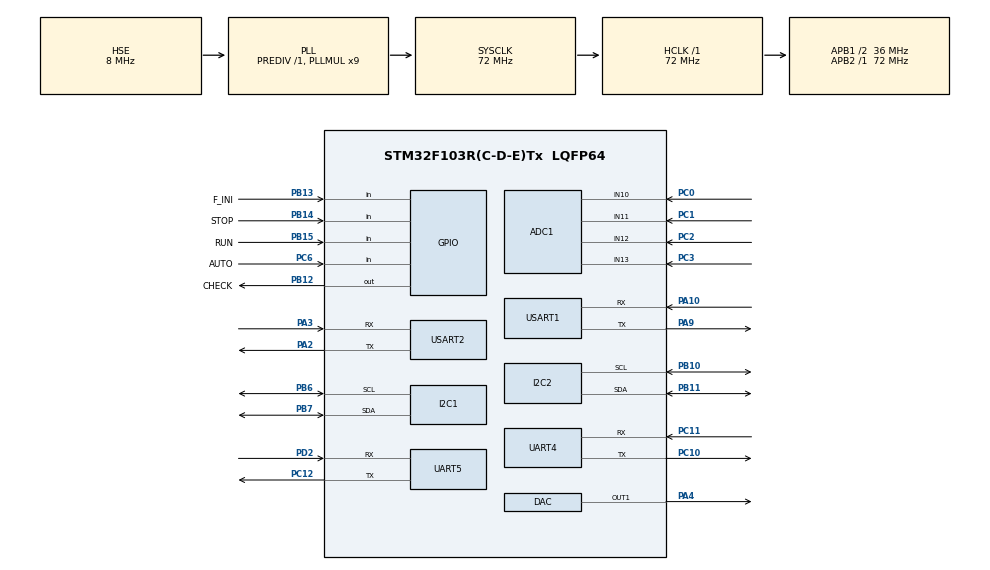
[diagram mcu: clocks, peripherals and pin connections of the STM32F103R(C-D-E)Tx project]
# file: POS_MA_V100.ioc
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ADC1.Channel-0\#ChannelRegularConversion=ADC_CHANNEL_10
ADC1.Channel-1\#ChannelRegularConversion=ADC_CHANNEL_11
ADC1.Channel-2\#ChannelRegularConversion=ADC_CHANNEL_12
ADC1.Channel-3\#ChannelRegularConversion=ADC_CHANNEL_13
ADC1.ContinuousConvMode=ENABLE
ADC1.NbrOfConversion=4
ADC1.NbrOfConversionFlag=1
ADC1.Rank-0\#ChannelRegularConversion=1
ADC1.Rank-1\#ChannelRegularConversion=2
ADC1.Rank-2\#ChannelRegularConversion=3
ADC1.Rank-3\#ChannelRegularConversion=4
ADC1.SamplingTime-0\#ChannelRegularConversion=ADC_SAMPLETIME_28CYCLES_5
ADC1.SamplingTime-1\#ChannelRegularConversion=ADC_SAMPLETIME_28CYCLES_5
ADC1.SamplingTime-2\#ChannelRegularConversion=ADC_SAMPLETIME_28CYCLES_5
ADC1.SamplingTime-3\#ChannelRegularConversion=ADC_SAMPLETIME_28CYCLES_5
ADC1.master=1
Dma.ADC1.0.Direction=DMA_PERIPH_TO_MEMORY
Dma.ADC1.0.Instance=DMA1_Channel1
Dma.ADC1.0.MemDataAlignment=DMA_MDATAALIGN_HALFWORD
Dma.ADC1.0.MemInc=DMA_MINC_ENABLE
Dma.ADC1.0.Mode=DMA_CIRCULAR
Dma.ADC1.0.PeriphDataAlignment=DMA_PDATAALIGN_HALFWORD
Dma.ADC1.0.PeriphInc=DMA_PINC_DISABLE
Dma.ADC1.0.Priority=DMA_PRIORITY_LOW
Dma.Request0=ADC1
Dma.Request1=UART4_TX
Dma.Request2=USART1_TX
Dma.Request3=USART2_TX
Dma.UART4_TX.1.Direction=DMA_MEMORY_TO_PERIPH
Dma.UART4_TX.1.Instance=DMA2_Channel5
Dma.UART4_TX.1.MemDataAlignment=DMA_MDATAALIGN_BYTE
Dma.UART4_TX.1.MemInc=DMA_MINC_ENABLE
Dma.UART4_TX.1.Mode=DMA_NORMAL
Dma.UART4_TX.1.PeriphDataAlignment=DMA_PDATAALIGN_BYTE
Dma.UART4_TX.1.PeriphInc=DMA_PINC_DISABLE
Dma.UART4_TX.1.Priority=DMA_PRIORITY_LOW
Dma.USART1_TX.2.Direction=DMA_MEMORY_TO_PERIPH
Dma.USART1_TX.2.Instance=DMA1_Channel4
Dma.USART1_TX.2.MemDataAlignment=DMA_MDATAALIGN_BYTE
Dma.USART1_TX.2.MemInc=DMA_MINC_ENABLE
Dma.USART1_TX.2.Mode=DMA_NORMAL
Dma.USART1_TX.2.PeriphDataAlignment=DMA_PDATAALIGN_BYTE
Dma.USART1_TX.2.PeriphInc=DMA_PINC_DISABLE
Dma.USART1_TX.2.Priority=DMA_PRIORITY_LOW
Dma.USART2_TX.3.Direction=DMA_MEMORY_TO_PERIPH
Dma.USART2_TX.3.Instance=DMA1_Channel7
Dma.USART2_TX.3.MemDataAlignment=DMA_MDATAALIGN_BYTE
Dma.USART2_TX.3.MemInc=DMA_MINC_ENABLE
Dma.USART2_TX.3.Mode=DMA_NORMAL
Dma.USART2_TX.3.PeriphDataAlignment=DMA_PDATAALIGN_BYTE
Dma.USART2_TX.3.PeriphInc=DMA_PINC_DISABLE
Dma.USART2_TX.3.Priority=DMA_PRIORITY_LOW
Mcu.Family=STM32F1
Mcu.Name=STM32F103R(C-D-E)Tx
Mcu.Package=LQFP64
NVIC.DMA1_Channel1_IRQn=true\:0\:0\:false\:false\:true\:false\:true\:true
NVIC.DMA1_Channel4_IRQn=true\:0\:0\:false\:false\:true\:false\:true\:true
NVIC.DMA1_Channel7_IRQn=true\:0\:0\:false\:false\:true\:false\:true\:true
NVIC.DMA2_Channel4_5_IRQn=true\:0\:0\:false\:false\:true\:false\:true\:true
NVIC.PriorityGroup=NVIC_PRIORITYGROUP_4
NVIC.TIM3_IRQn=true\:0\:0\:false\:false\:true\:true\:true\:true
NVIC.UART4_IRQn=true\:0\:0\:false\:false\:true\:true\:true\:true
NVIC.UART5_IRQn=true\:0\:0\:false\:false\:true\:true\:true\:true
NVIC.USART1_IRQn=true\:0\:0\:false\:false\:true\:true\:true\:true
NVIC.USART2_IRQn=true\:0\:0\:false\:false\:true\:true\:true\:true
PA10.GPIO_PuPd=GPIO_PULLUP
PA10.Mode=Asynchronous
PA10.Signal=USART1_RX
PA13.Mode=Serial_Wire
PA13.Signal=SYS_JTMS-SWDIO
PA14.Mode=Serial_Wire
PA14.Signal=SYS_JTCK-SWCLK
PA2.Mode=Asynchronous
PA2.Signal=USART2_TX
PA3.GPIO_PuPd=GPIO_PULLUP
PA3.Mode=Asynchronous
PA3.Signal=USART2_RX
PA4.Signal=COMP_DAC1_group
PA9.Mode=Asynchronous
PA9.Signal=USART1_TX
PB10.Mode=I2C
PB10.Signal=I2C2_SCL
PB11.Mode=I2C
PB11.Signal=I2C2_SDA
PB12.GPIO_Label=CHECK
PB12.Signal=GPIO_Output
PB13.GPIO_Label=F_INI
PB13.GPIO_PuPd=GPIO_PULLUP
PB13.Signal=GPIO_Input
PB14.GPIO_Label=STOP
PB14.GPIO_PuPd=GPIO_PULLUP
PB14.Signal=GPIO_Input
PB15.GPIO_Label=RUN
PB15.GPIO_PuPd=GPIO_PULLUP
PB15.Signal=GPIO_Input
PB6.Mode=I2C
PB6.Signal=I2C1_SCL
PB7.Mode=I2C
PB7.Signal=I2C1_SDA
PC0.Signal=ADCx_IN10
PC1.Signal=ADCx_IN11
PC10.Mode=Asynchronous
PC10.Signal=UART4_TX
PC11.GPIO_PuPd=GPIO_PULLUP
PC11.Mode=Asynchronous
PC11.Signal=UART4_RX
PC12.Mode=Asynchronous
PC12.Signal=UART5_TX
PC2.Signal=ADCx_IN12
PC3.Signal=ADCx_IN13
PC6.GPIO_Label=AUTO
PC6.GPIO_PuPd=GPIO_PULLUP
PC6.Signal=GPIO_Input
PD0-OSC_IN.Mode=HSE-External-Oscillator
PD0-OSC_IN.Signal=RCC_OSC_IN
PD1-OSC_OUT.Mode=HSE-External-Oscillator
PD1-OSC_OUT.Signal=RCC_OSC_OUT
PD2.GPIO_PuPd=GPIO_PULLUP
PD2.Mode=Asynchronous
PD2.Signal=UART5_RX
ProjectManager.HeapSize=0x200
ProjectManager.StackSize=0x400
ProjectManager.TargetToolchain=STM32CubeIDE
RCC.ADCPresc=RCC_ADCPCLK2_DIV6
RCC.AHBFreq_Value=72000000
RCC.APB1CLKDivider=RCC_HCLK_DIV2
RCC.APB1Freq_Value=36000000
RCC.APB1TimFreq_Value=72000000
RCC.APB2Freq_Value=72000000
RCC.APB2TimFreq_Value=72000000
RCC.HCLKFreq_Value=72000000
RCC.PLLMUL=RCC_PLL_MUL9
RCC.PLLSourceVirtual=RCC_PLLSOURCE_HSE
RCC.SYSCLKFreq_VALUE=72000000
RCC.SYSCLKSource=RCC_SYSCLKSOURCE_PLLCLK
RCC.USBFreq_Value=72000000
SH.ADCx_IN10.0=ADC1_IN10,IN10
SH.ADCx_IN11.0=ADC1_IN11,IN11
SH.ADCx_IN12.0=ADC1_IN12,IN12
SH.ADCx_IN13.0=ADC1_IN13,IN13
SH.COMP_DAC1_group.0=DAC_OUT1,DAC_OUT1
TIM3.Period=1000-1
TIM3.Prescaler=72-1
UART4.VirtualMode=Asynchronous
UART5.VirtualMode=Asynchronous
USART1.VirtualMode=VM_ASYNC
USART2.VirtualMode=VM_ASYNC
VP_TIM3_VS_ClockSourceINT.Mode=Internal
board=custom

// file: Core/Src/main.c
/* USER CODE BEGIN Header */
/**
 ******************************************************************************
 * @file           : main.c
 * @brief          : Main program body
 ******************************************************************************
 * @attention
 *
 * Copyright (c) 2025 STMicroelectronics.
 * All rights reserved.
 *
 * This software is licensed under terms that can be found in the LICENSE file
 * in the root directory of this software component.
 * If no LICENSE file comes with this software, it is provided AS-IS.
 *
 ******************************************************************************
 */
/* USER CODE END Header */
#include "main.h"
#include "adc.h"
#include "dac.h"
#include "dma.h"
#include "i2c.h"
#include "tim.h"
#include "usart.h"
#include "gpio.h"

/* USER CODE BEGIN Includes */
#include <math.h>
#include <stdio.h>
#include <stdint.h>
#include <stdlib.h>
#include <string.h>
#include <stdbool.h>
/* USER CODE END Includes */

/* USER CODE BEGIN PD */
#define NUM_ADC 4
#define MIN_BUFF 20
#define MAX_BUFF 80
#define KEY_INPUT 50
#define SAMPLE_ADC 64
#define MAX_ANGLE 5.25
#define STEP_DEGREE 0.75
#define STAGE_DELAY 100
#define MIN_QPD_X 10
#define MIN_QPD_Y 10
#define MIN_QPD_TOTAL 3000
#define MAX_KEY_INPUT 20000
#define CHECK_LED_OF GPIOB->BSRR = 0x10000000
#define CHECK_LED_ON GPIOB->BSRR = 0x00001000
/* USER CODE END PD */

/* USER CODE BEGIN PV */
typedef enum
{
    IDLE,
    INIT_X,
    INIT_Y,
    WAIT_X_OR,
    WAIT_Y_OR,
    CHECK_X_TP,
    CHECK_Y_TP,
    MOVE_X,
    MOVE_Y,
    WAIT_X_PA,
    WAIT_Y_PA,
    CALC_ANGLE,
    MOVE_DONE
} STAGE_STATE;

typedef enum
{
    QPD_ERR,
    QPD_LOW,
    QPD_HIGH
} QUAD_PD_STATE;

typedef enum
{
    STOP_MOVE,
    SEARCH_MOVE,
    CENTER_MOVE
} FCR100_STATE;

STAGE_STATE STG_STATE = IDLE, BKUP_STG_STATE = IDLE;
QUAD_PD_STATE QPD_STATE = QPD_ERR;
FCR100_STATE FCR_STATE = STOP_MOVE;
/* USER CODE END PV */

void SystemClock_Config(void);
/* USER CODE BEGIN PFP */
void Check_Auto_Manual(void);
void Check_Overrun_Uart(void);
void ADC_Process(void);
void Process_QPD(void);
void Process_Stage(void);
void Stage_Init(UART_HandleTypeDef *huart, const uint8_t *rxbuff);
void Stage_Moving(UART_HandleTypeDef *huart, const uint8_t *rxbuff);
void Stage_Calculate_Moving_Angle(void);
void Key_Input_Check(void);
void Send_Txbuff(UART_HandleTypeDef *huart, char *data);
bool Stage_Response_Check(const uint8_t *rxbuff, const char *compare);
bool Stage_Position_Check(const uint8_t *rxbuff, const char *compare);
void Send_Data_To_User(void);
void Send_Data_To_PC(void);
/* USER CODE END PFP */

/* USER CODE BEGIN 0 */
bool ADC_Flag = false, INIT_CPLT = false, INIT_KEY = false,
     SEARCH_CPLT = false, CENTER_CPLT = false, AUTO = false, RUN = false;
char pc_buff[MAX_BUFF], stage_buff[MAX_BUFF], usr_buff[MAX_BUFF];
uint8_t rx_stdata, rx_pcdata, rx_xdata, rx_ydata,
    stnum, xnum, ynum, pcnum, stage_dir, SUB_INFO_1, SUB_INFO_2,
    rx_xbuff[MIN_BUFF], rx_ybuff[MIN_BUFF], rx_pcbuff[MIN_BUFF], rx_stbuff[MIN_BUFF];
uint16_t adc_value[SAMPLE_ADC * NUM_ADC], avg_adc[NUM_ADC], cal_adc[NUM_ADC],
    run_sw, stop_sw, init_sw,
    adc_cnt, sys_cnt, pc_cnt,
    stage_cnt, stage_step = 1, stg_delay = STAGE_DELAY,
               stage_move_cnt;
uint32_t cal_sum_adc[NUM_ADC], sum_adc[NUM_ADC];
int32_t qpd_y, qpd_x, qpd_total, sum_avg_adc;
double x_angle = 0.0, y_angle = 0.0, target_x_angle = 0.0, target_y_angle = 0.0,
       dmin = 0.0, dmax = 0.0, corr_x_angle = 0.0, corr_y_angle = 0.0;
/* USER CODE END 0 */

int main(void)
{

    /* MCU Configuration--------------------------------------------------------*/

    /* Reset of all peripherals, Initializes the Flash interface and the Systick. */
    HAL_Init();

    /* Configure the system clock */
    SystemClock_Config();

    /* Initialize all configured peripherals */
    MX_GPIO_Init();
    MX_DMA_Init();
    MX_ADC1_Init();
    MX_TIM3_Init();
    MX_UART4_Init();
    MX_UART5_Init();
    MX_USART1_UART_Init();
    MX_USART2_UART_Init();
    MX_DAC_Init();
    MX_I2C1_Init();
    MX_I2C2_Init();
    /* USER CODE BEGIN 2 */

    // Check Mode(Auto|Manual)
    Check_Auto_Manual();

    // ADC Setup
    HAL_ADCEx_Calibration_Start(&hadc1);
    HAL_ADC_Start_DMA(&hadc1, (uint32_t *)adc_value, SAMPLE_ADC * NUM_ADC);

    // Timer Interrupt Setup
    HAL_TIM_Base_Start_IT(&htim3);

    // UART Rx Interrupt Setup
    HAL_UART_Receive_IT(&huart1, &rx_stdata, 1);
    HAL_UART_Receive_IT(&huart2, &rx_pcdata, 1);
    HAL_UART_Receive_IT(&huart4, &rx_ydata, 1);
    HAL_UART_Receive_IT(&huart5, &rx_xdata, 1);

    /* USER CODE END 2 */

    /* Infinite loop */
    while (1)
    {

        /* USER CODE BEGIN 3 */

    	// Check Git-Hub step 1

        // ADC Process
        ADC_Process();

        // Uart over-run check
        Check_Overrun_Uart();

        // Process QPD X-Y
        Process_QPD();

        // Find light source by moving Stage X-Y
        Process_Stage();

        // Send Data to PC
        Send_Data_To_PC();

        // Send Data to User
        Send_Data_To_User();
    }
    /* USER CODE END 3 */
}

void SystemClock_Config(void)
{
    RCC_OscInitTypeDef RCC_OscInitStruct = {0};
    RCC_ClkInitTypeDef RCC_ClkInitStruct = {0};
    RCC_PeriphCLKInitTypeDef PeriphClkInit = {0};

    /** Initializes the RCC Oscillators according to the specified parameters
     * in the RCC_OscInitTypeDef structure.
     */
    RCC_OscInitStruct.OscillatorType = RCC_OSCILLATORTYPE_HSE;
    RCC_OscInitStruct.HSEState = RCC_HSE_ON;
    RCC_OscInitStruct.HSEPredivValue = RCC_HSE_PREDIV_DIV1;
    RCC_OscInitStruct.HSIState = RCC_HSI_ON;
    RCC_OscInitStruct.PLL.PLLState = RCC_PLL_ON;
    RCC_OscInitStruct.PLL.PLLSource = RCC_PLLSOURCE_HSE;
    RCC_OscInitStruct.PLL.PLLMUL = RCC_PLL_MUL9;
    if (HAL_RCC_OscConfig(&RCC_OscInitStruct) != HAL_OK)
    {
        Error_Handler();
    }

    /** Initializes the CPU, AHB and APB buses clocks
     */
    RCC_ClkInitStruct.ClockType = RCC_CLOCKTYPE_HCLK | RCC_CLOCKTYPE_SYSCLK | RCC_CLOCKTYPE_PCLK1 | RCC_CLOCKTYPE_PCLK2;
    RCC_ClkInitStruct.SYSCLKSource = RCC_SYSCLKSOURCE_PLLCLK;
    RCC_ClkInitStruct.AHBCLKDivider = RCC_SYSCLK_DIV1;
    RCC_ClkInitStruct.APB1CLKDivider = RCC_HCLK_DIV2;
    RCC_ClkInitStruct.APB2CLKDivider = RCC_HCLK_DIV1;

    if (HAL_RCC_ClockConfig(&RCC_ClkInitStruct, FLASH_LATENCY_2) != HAL_OK)
    {
        Error_Handler();
    }
    PeriphClkInit.PeriphClockSelection = RCC_PERIPHCLK_ADC;
    PeriphClkInit.AdcClockSelection = RCC_ADCPCLK2_DIV6;
    if (HAL_RCCEx_PeriphCLKConfig(&PeriphClkInit) != HAL_OK)
    {
        Error_Handler();
    }
}

/* USER CODE BEGIN 4 */
void HAL_TIM_PeriodElapsedCallback(TIM_HandleTypeDef *htim)
{
    // Check Key(Run, Stop, Init)
    Key_Input_Check();

    // ADC
    ADC_Flag = true;

    // Stage Communication Delay
    if (stg_delay > 0)
        stg_delay--;

    // Send PC Data
    pc_cnt++;

    // Send User Data
    sys_cnt++;
}

void Check_Auto_Manual(void)
{
    if (GPIOC->IDR & 0x00000040) // Check Mode Auto-Manual(PC6)
    {
        Send_Txbuff(&huart1, "Manual Mode\r\n");
    }
    else
    {
        target_x_angle = 0.0;
        target_y_angle = 0.0;
        AUTO = true;
        RUN = true;
        STG_STATE = INIT_X;

        Send_Txbuff(&huart1, "Auto Mode\r\n");
    }
}

void Key_Input_Check(void)
{
    if (!(GPIOB->IDR & 0x00002000))
    { // Check input Init-SW(PB13)
        init_sw++;
        if (init_sw == KEY_INPUT)
        {
            // Move FCR100 to initial(home) position
            Send_Txbuff(&huart1, "init_sw input\r\n");

            target_x_angle = 0.0;
            target_y_angle = 0.0;
            INIT_KEY = true;
            STG_STATE = INIT_X;
        }
        if (init_sw >= MAX_KEY_INPUT)
            init_sw = 0;
    }
    else
    {
        if (init_sw > 0)
            init_sw = 0;
    }

    if (!(GPIOB->IDR & 0x00004000))
    { // Check input Stop-SW(PB14)
        stop_sw++;
        if (stop_sw == KEY_INPUT)
        {
            // Send stop command to FCR100
            Send_Txbuff(&huart1, "stop_sw input\r\n");

            RUN = false;

            // Turn On CHECK-LED
            CHECK_LED_ON;
        }
        if (stop_sw >= MAX_KEY_INPUT)
            stop_sw = 0;
    }
    else
    {
        if (stop_sw > 0)
            stop_sw = 0;
    }

    if (!(GPIOB->IDR & 0x00008000))
    { // Check input Run-SW(PB15)
        run_sw++;
        if (run_sw == KEY_INPUT)
        {
            // Send command to find and move to center position
            Send_Txbuff(&huart1, "run_sw input\r\n");

            RUN = true;

            // Turn Off CHECK-LED
            CHECK_LED_OF;
        }
        if (run_sw >= MAX_KEY_INPUT)
            run_sw = 0;
    }
    else
    {
        if (run_sw > 0)
            run_sw = 0;
    }
}

void ADC_Process(void)
{
    if (ADC_Flag)
    {
        adc_cnt++;

        for (uint8_t i = 0; i < SAMPLE_ADC; i++)
        {
            cal_sum_adc[0] += adc_value[i * 4];
            cal_sum_adc[1] += adc_value[(i * 4) + 1];
            cal_sum_adc[2] += adc_value[(i * 4) + 2];
            cal_sum_adc[3] += adc_value[(i * 4) + 3];
        }

        for (uint8_t i = 0; i < NUM_ADC; i++)
        {
            cal_adc[i] = cal_sum_adc[i] / SAMPLE_ADC;
        }

        for (uint8_t i = 0; i < NUM_ADC; i++)
        {
            cal_sum_adc[i] = 0;
        }

        for (uint8_t i = 0; i < NUM_ADC; i++)
        {
            sum_adc[i] += cal_adc[i];
        }

        if (adc_cnt >= 300)
        {
            for (uint8_t i = 0; i < NUM_ADC; i++)
            {
                avg_adc[i] = sum_adc[i] / 300;
                sum_avg_adc += avg_adc[i];
            }

            for (uint8_t i = 0; i < NUM_ADC; i++)
            {
                sum_adc[i] = 0;
            }

            qpd_total = (int32_t)sum_avg_adc;
            sum_avg_adc = 0;

            if (qpd_total > 0)
            {
                // X = ((A + D) - (B + C)) / (A + B + C + D), 단위 0.00%(예, 300 -> 3.99%)
                qpd_x = (avg_adc[0] + avg_adc[3]) - (avg_adc[1] + avg_adc[2]);
                qpd_x *= 10000;
                qpd_x = qpd_x / qpd_total;

                // Y = ((A + B) - (C + D)) / (A + B + C + D)
                qpd_y = (avg_adc[0] + avg_adc[1]) - (avg_adc[2] + avg_adc[3]);
                qpd_y *= 10000;
                qpd_y = qpd_y / qpd_total;

                // 100%(10,000) 이상인 경우, 축 치우침이 너무 큼으로 광소스를 다시 찾아야???
                // 우선, X, Y값을 100%로 설정(판별은 QPD_PROCESS에서)
                if (qpd_x >= 10000)
                    qpd_x = 10000;
                else if (qpd_x <= -10000)
                    qpd_x = -10000;

                if (qpd_y >= 10000)
                    qpd_y = 10000;
                else if (qpd_y <= -10000)
                    qpd_y = -10000;
            }
            adc_cnt = 0;
        }

        ADC_Flag = false;
    }
}

void Check_Overrun_Uart(void)
{
    if (__HAL_UART_GET_FLAG(&huart1, UART_FLAG_ORE))
    {
        Send_Txbuff(&huart1, "Errupt USART1(ST-LINK) OVER-source_search\r\n");

        volatile uint32_t temp;
        temp = USART1->DR; // Read Rx-Register
        (void)temp;        // Prevent Compiler error

        HAL_UART_Receive_IT(&huart1, &rx_stdata, 1);
    }

    if (__HAL_UART_GET_FLAG(&huart2, UART_FLAG_ORE))
    {
        Send_Txbuff(&huart1, "Errupt USART2(PC) OVER-source_search\r\n");

        volatile uint32_t temp;
        temp = USART2->DR; // Read Rx-Register
        (void)temp;        // Prevent Compiler error

        HAL_UART_Receive_IT(&huart2, &rx_pcdata, 1);
    }

    if (__HAL_UART_GET_FLAG(&huart4, UART_FLAG_ORE))
    {
        Send_Txbuff(&huart1, "Errupt UART4(FCR-Y) OVER-source_search\r\n");

        volatile uint32_t temp;
        temp = UART4->DR; // Read Rx-Register
        (void)temp;       // Prevent Compiler error

        HAL_UART_Receive_IT(&huart4, &rx_ydata, 1);
    }

    if (__HAL_UART_GET_FLAG(&huart5, UART_FLAG_ORE))
    {
        Send_Txbuff(&huart1, "Errupt UART5(FCR-X) OVER-source_search\r\n");

        volatile uint32_t temp;
        temp = UART5->DR; // Read Rx-Register
        (void)temp;       // Prevent Compiler error

        HAL_UART_Receive_IT(&huart5, &rx_xdata, 1);
    }
}

void Process_QPD(void)
{
    // 임시 리턴 <- 코드 구성 후 삭제
    return;

    // QPD 값이 최소값보다 작은 경우, 계속 찾기
    if (qpd_total < MIN_QPD_TOTAL)
    {
        SEARCH_CPLT = false;
        QPD_STATE = QPD_ERR;
        return;
    }

    // QPD 중심점 이동 모드
    SEARCH_CPLT = true;
    STG_STATE = MOVE_DONE;

    if (abs(qpd_x) > MIN_QPD_X)
    {
        // X축 미세 이동(qpd_x는 x100한 %값으로 현재 angle에 .2f% 만큼 치우침 표시)
        // qpd_x 가 123인 경우, x가 중심점으로 부터 1.23%(+ 우축방향으로) 치우침을 말함.
        // 중심점으로 이동시키기위해 x_angle을 1.23%만큼 (- 좌측방향으로) 이동시켜 줘야 함.
        // 예) x_angle이 3.75(도)라면, x_angle에서 3.75(도)의 1.23% 에 해당하는 값을 뺀 후,
        // 목표각(target_x_angle)으로 설정.(만약 값이 (-)음수이면 -- -> + 로 교정됨)

        corr_x_angle = (x_angle * qpd_x) / 100.0f;
        corr_x_angle /= 4.0f;
        target_x_angle = x_angle - corr_x_angle;
        STG_STATE = MOVE_X;
        QPD_STATE = QPD_LOW;
    }
    else if (abs(qpd_y) > MIN_QPD_Y)
    {
        // Y축 미세 이동
        corr_y_angle = (x_angle * qpd_x) / 100.0f;
        corr_y_angle /= 4.0f;
        target_y_angle = y_angle - corr_y_angle;
        STG_STATE = MOVE_Y;
        QPD_STATE = QPD_LOW;
    }
    else
    {
        // 중심점 이동 완료
        STG_STATE = MOVE_DONE;
        QPD_STATE = QPD_HIGH;
    }
}

void Process_Stage(void)
{
    if (stg_delay != 0)
        return;

    // 실제테스트 시,
    // &huart1 -> &huart4
    // rx_stbuff -> rx_ybuff

    if (!INIT_CPLT)
    {
        FCR_STATE = STOP_MOVE;
        Stage_Init(&huart4, rx_ybuff);
    }
    else
    {
        // FCR100 상태 설정
        if (!SEARCH_CPLT)
            FCR_STATE = SEARCH_MOVE;
        else if (!CENTER_CPLT)
            FCR_STATE = CENTER_MOVE;
        else
            FCR_STATE = STOP_MOVE;

        Stage_Moving(&huart4, rx_ybuff);
    }
}

void Stage_Init(UART_HandleTypeDef *huart, const uint8_t *rxbuff)
{
    if (!AUTO && !INIT_KEY)
        return;

    switch (STG_STATE)
    {
    case INIT_X:
        STG_STATE = WAIT_X_OR;
        Send_Txbuff(huart, "1OR\r\n");
        break;

    case WAIT_X_OR:
        if (Stage_Response_Check(rxbuff, "1OR"))
        {
            STG_STATE = CHECK_X_TP;
            Send_Txbuff(huart, "1TP\r\n");
        }
        else
            STG_STATE = INIT_X;
        break;

    case CHECK_X_TP:
        if (Stage_Position_Check(rxbuff, "1TP"))
            STG_STATE = INIT_Y;
        else
            STG_STATE = MOVE_X;
        break;

    case MOVE_X:
        STG_STATE = WAIT_X_PA;
        snprintf(stage_buff, MAX_BUFF, "1PA%.6f\r\n", target_x_angle);
        Send_Txbuff(huart, stage_buff);
        break;

    case WAIT_X_PA:
        if (Stage_Response_Check(rxbuff, "1PA"))
        {
            STG_STATE = CHECK_X_TP;
            Send_Txbuff(huart, "1TP\r\n");
        }
        else
            STG_STATE = MOVE_X;
        break;

    case INIT_Y:
        STG_STATE = WAIT_Y_OR;
        Send_Txbuff(huart, "2OR\r\n");
        break;

    case WAIT_Y_OR:
        if (Stage_Response_Check(rxbuff, "2OR"))
        {
            STG_STATE = CHECK_Y_TP;
            Send_Txbuff(huart, "2TP\r\n");
        }
        else
            STG_STATE = INIT_Y;
        break;

    case CHECK_Y_TP:
        if (Stage_Position_Check(rxbuff, "2TP"))
            STG_STATE = MOVE_DONE;
        else
            STG_STATE = MOVE_Y;
        break;

    case MOVE_Y:
        STG_STATE = WAIT_Y_PA;
        snprintf(stage_buff, MAX_BUFF, "2PA%.6f\r\n", target_y_angle);
        Send_Txbuff(huart, stage_buff);
        break;

    case WAIT_Y_PA:
        if (Stage_Response_Check(rxbuff, "2PA"))
        {
            STG_STATE = CHECK_Y_TP;
            Send_Txbuff(huart, "2TP\r\n");
        }
        else
            STG_STATE = MOVE_Y;
        break;

    case MOVE_DONE:
        INIT_CPLT = true;
        STG_STATE = CALC_ANGLE;
        break;

    case IDLE:
    case CALC_ANGLE:
        break;

    default:
        break;
    }
}

void Stage_Moving(UART_HandleTypeDef *huart, const uint8_t *rxbuff)
{
    if (!RUN)
        return;

    switch (STG_STATE)
    {
    case CALC_ANGLE:
        Stage_Calculate_Moving_Angle();
        break;

    case MOVE_X:
        STG_STATE = WAIT_X_PA;
        snprintf(stage_buff, MAX_BUFF, "1PA%.6f\r\n", target_x_angle);
        Send_Txbuff(huart, stage_buff);
        break;

    case WAIT_X_PA:
        if (Stage_Response_Check(rxbuff, "1PA"))
        {
            STG_STATE = CHECK_X_TP;
            Send_Txbuff(huart, "1TP\r\n");
        }
        else
            STG_STATE = MOVE_X;
        break;

    case CHECK_X_TP:
        if (Stage_Position_Check(rxbuff, "1TP"))
        {
            if (!SEARCH_CPLT)
                STG_STATE = CALC_ANGLE;
            else
                STG_STATE = MOVE_DONE;
        }
        else
            STG_STATE = MOVE_X;
        break;

    case MOVE_Y:
        STG_STATE = WAIT_Y_PA;
        snprintf(stage_buff, MAX_BUFF, "2PA%.6f\r\n", target_y_angle);
        Send_Txbuff(huart, stage_buff);
        break;

    case WAIT_Y_PA:
        if (Stage_Response_Check(rxbuff, "2PA"))
        {
            STG_STATE = CHECK_Y_TP;
            Send_Txbuff(huart, "2TP\r\n");
        }
        else
            STG_STATE = MOVE_Y;
        break;

    case CHECK_Y_TP:
        if (Stage_Position_Check(rxbuff, "2TP"))
        {
            if (!SEARCH_CPLT)
                STG_STATE = CALC_ANGLE;
            else
                STG_STATE = MOVE_DONE;
        }
        else
            STG_STATE = MOVE_Y;
        break;

    case IDLE:
    case INIT_X:
    case INIT_Y:
    case WAIT_X_OR:
    case WAIT_Y_OR:
    case MOVE_DONE:
        break;

    default:
        break;
    }
}

bool Stage_Response_Check(const uint8_t *rxbuff, const char *compare)
{
    if (strncmp((char *)rxbuff, compare, 3) == 0)
    {
        return true;
    }
    else
    {
        snprintf(stage_buff, MAX_BUFF, "<RX> %s != <CMP> %s\r\n", rxbuff, compare);
        Send_Txbuff(&huart1, stage_buff);
        return false;
    }
}

bool Stage_Position_Check(const uint8_t *rxbuff, const char *compare)
{
    if (strncmp((char *)rxbuff, compare, 3) == 0)
    {
        bool is_negative = false;
        int i = 3;

        // Check Sign
        if (rxbuff[i] == '-')
        {
            is_negative = true;
            i++;
        }

        double angle = 0.0;
        bool decimal_part = false;
        double decimal_place = 0.1;

        while (rxbuff[i] != 0x0D)
        {
            char ch = rxbuff[i];

            if (ch >= '0' && ch <= '9')
            {
                if (!decimal_part)
                {
                    angle = angle * 10 + (ch - '0');
                }
                else
                {
                    angle += (ch - '0') * decimal_place;
                    decimal_place *= 0.1;
                }
            }
            else if (ch == '.')
                decimal_part = true;
            else
                break;

            i++;
        }

        if (is_negative)
            angle = -angle;

        if (rxbuff[0] == '1')
        {
            x_angle = angle;

            dmin = target_x_angle - 0.00025f;
            dmax = target_x_angle + 0.00025f;

            if (!(dmin < x_angle && dmax > x_angle))
            {
                snprintf(stage_buff, MAX_BUFF, "x_angle: %+09.6f (target: %+09.6f)\r\n",
                         x_angle, target_x_angle);
                Send_Txbuff(&huart1, stage_buff);
                return false;
            }
            else
            {
                return true;
            }
        }
        else if (rxbuff[0] == '2')
        {
            y_angle = angle;

            dmin = target_y_angle - 0.00025f;
            dmax = target_y_angle + 0.00025f;

            if (!(dmin < y_angle && dmax > y_angle))
            {
                snprintf(stage_buff, MAX_BUFF, "y_angle: %+09.6f (target: %+09.6f)\r\n",
                         y_angle, target_y_angle);
                Send_Txbuff(&huart1, stage_buff);
                return false;
            }
            else
            {
                return true;
            }
        }
    }

    snprintf(stage_buff, MAX_BUFF, "<RX> %s !=<CMP> %s\r\n", rxbuff, compare);
    Send_Txbuff(&huart1, stage_buff);
    return false;
}

void Stage_Calculate_Moving_Angle(void)
{
    if (fabs(target_y_angle) >= MAX_ANGLE && fabs(y_angle) >= MAX_ANGLE)
    {
        target_x_angle = 0.0;
        target_y_angle = 0.0;

        stage_step = 1;
        stage_dir = 0;
        stage_cnt = 0;

        // 이동 단계 총 갯수 클리어, 추후 삭세
        stage_move_cnt = 0;
    }

    // 이동 단계 카운트, 추후 삭제(변수도 삭제 필요)
    stage_move_cnt++;

    switch (stage_dir % 4)
    {
    case 0:
        target_x_angle += STEP_DEGREE; // +x
        STG_STATE = MOVE_X;
        break;
    case 1:
        target_y_angle += STEP_DEGREE; // +y
        STG_STATE = MOVE_Y;
        break;
    case 2:
        target_x_angle -= STEP_DEGREE; // -x
        STG_STATE = MOVE_X;
        break;
    case 3:
        target_y_angle -= STEP_DEGREE; // -y
        STG_STATE = MOVE_Y;
        break;

    default:
        break;
    }

    stage_cnt++;
    if (stage_cnt >= stage_step)
    {
        stage_cnt = 0;
        stage_dir++;

        if (stage_dir % 2 == 0)
            stage_step++;
    }
}

void Send_Data_To_PC(void)
{
    switch (pc_cnt)
    {
    case 10:
        snprintf(pc_buff, MAX_BUFF, "QA%05d\r\n", avg_adc[0]);
        Send_Txbuff(&huart2, pc_buff);
        break;

    case 30:
        snprintf(pc_buff, MAX_BUFF, "QB%05d\r\n", avg_adc[1]);
        Send_Txbuff(&huart2, pc_buff);
        break;

    case 50:
        snprintf(pc_buff, MAX_BUFF, "QC%05d\r\n", avg_adc[2]);
        Send_Txbuff(&huart2, pc_buff);
        break;

    case 70:
        snprintf(pc_buff, MAX_BUFF, "QD%05d\r\n", avg_adc[3]);
        Send_Txbuff(&huart2, pc_buff);
        break;

    case 90:
        if (x_angle < 0)
            snprintf(pc_buff, MAX_BUFF, "FX-%09.6f\r\n", fabs(x_angle));
        else
            snprintf(pc_buff, MAX_BUFF, "FX+%09.6f\r\n", x_angle);
        Send_Txbuff(&huart2, pc_buff);
        break;

    case 110:
        if (y_angle < 0)
            snprintf(pc_buff, MAX_BUFF, "FY-%09.6f\r\n", fabs(y_angle));
        else
            snprintf(pc_buff, MAX_BUFF, "FY+%09.6f\r\n", y_angle);
        Send_Txbuff(&huart2, pc_buff);
        break;

    case 130:
        snprintf(pc_buff, MAX_BUFF, "S%d%d%d%d\r\n",
                 QPD_STATE, FCR_STATE, SUB_INFO_1, SUB_INFO_2);
        Send_Txbuff(&huart2, pc_buff);
        break;

    case 150:
        pc_cnt = 0;
        break;

    default:
        break;
    }
}

void Send_Data_To_User(void)
{
    switch (sys_cnt)
    {
    case 1000:
        snprintf(usr_buff, MAX_BUFF, "QPD A: %4d, B: %4d, C: %4d, D: %4d\r\nSTAGE X: %+09.6f, Y: %+09.6f\r\n",
                 avg_adc[0], avg_adc[1], avg_adc[2], avg_adc[3], x_angle, y_angle);
        // Send_Txbuff(&huart1, usr_buff);
        sys_cnt = 0;
        break;

    default:
        break;
    }
}

void HAL_UART_RxCpltCallback(UART_HandleTypeDef *huart)
{
    if (huart->Instance == USART1)
    { // ST-LINK
        rx_stbuff[stnum] = rx_stdata;
        stnum++;

        if (stnum >= MIN_BUFF)
            stnum = 0;

        if (stnum > 2 && rx_stbuff[stnum - 2] == 0x0D && rx_stbuff[stnum - 1] == 0x0A)
        {
            stnum = 0;
            // 테스트용
            // stg_delay = 10;
        }

        HAL_UART_Receive_IT(&huart1, &rx_stdata, 1);
    }

    if (huart->Instance == USART2)
    { // PC
        rx_pcbuff[pcnum] = rx_pcdata;
        pcnum++;

        if (pcnum >= MIN_BUFF)
            pcnum = 0;

        if (pcnum > 2 && rx_pcbuff[pcnum - 2] == 0x0D && rx_pcbuff[pcnum - 1] == 0x0A)
        {
            pcnum = 0;
        }

        HAL_UART_Receive_IT(&huart2, &rx_pcdata, 1);
    }

    if (huart->Instance == UART4)
    { // FCR100 Y-AXIS (UART4 DMA Available)
        rx_ybuff[ynum] = rx_ydata;
        ynum++;

        if (ynum >= MIN_BUFF)
            ynum = 0;

        if (ynum > 2 && rx_ybuff[ynum - 2] == 0x0D && rx_ybuff[ynum - 1] == 0x0A)
        {
            ynum = 0;
            stg_delay = 10;
        }

        HAL_UART_Receive_IT(&huart4, &rx_ydata, 1);
    }

    if (huart->Instance == UART5)
    { // FCR100 X-AXIS
        rx_xbuff[xnum] = rx_xdata;
        xnum++;

        if (xnum >= MIN_BUFF)
            xnum = 0;

        if (xnum > 2 && rx_xbuff[xnum - 2] == 0x0D && rx_xbuff[xnum - 1] == 0x0A)
        {
            xnum = 0;
        }

        HAL_UART_Receive_IT(&huart5, &rx_xdata, 1);
    }
}

void Send_Txbuff(UART_HandleTypeDef *huart, char *data)
{
    if (huart->Instance == USART1)
    {
        // 테스트용
        // stg_delay = STAGE_DELAY;
        HAL_UART_Transmit_DMA(&huart1, (uint8_t *)data, strlen(data));
    }

    if (huart->Instance == USART2)
    {
        HAL_UART_Transmit_DMA(&huart2, (uint8_t *)data, strlen(data));
    }

    if (huart->Instance == UART4)
    {
        stg_delay = STAGE_DELAY;
        HAL_UART_Transmit_DMA(&huart4, (uint8_t *)data, strlen(data));
    }

    if (huart->Instance == UART5)
    {
        HAL_UART_Transmit(&huart5, (uint8_t *)data, strlen(data), HAL_MAX_DELAY);
    }
}

void HAL_UART_TxCpltCallback(UART_HandleTypeDef *huart)
{
    if (huart->Instance == USART1)
    {
        __NOP();
    }

    if (huart->Instance == USART2)
    {
        __NOP();
    }

    if (huart->Instance == UART4)
    {
        __NOP();
    }

    if (huart->Instance == UART5)
    {
        __NOP();
    }
}

/* USER CODE END 4 */

void Error_Handler(void)
{
    __disable_irq();
    while (1)
    {
    }
}
